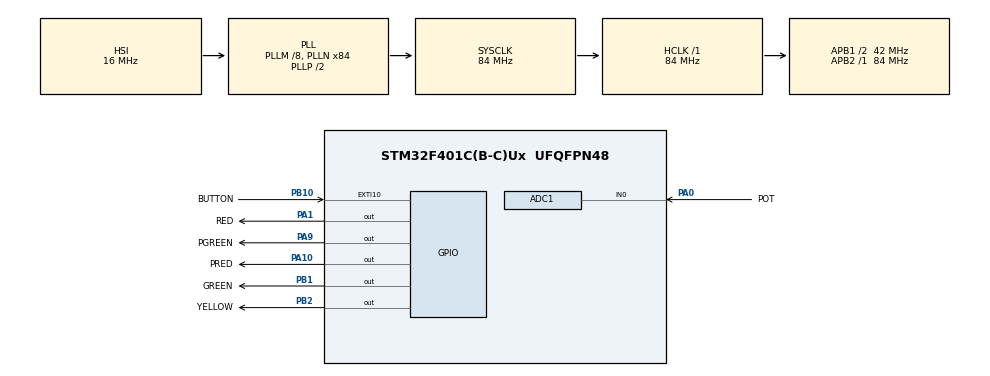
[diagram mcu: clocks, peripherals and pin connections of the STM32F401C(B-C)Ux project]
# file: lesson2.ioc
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ADC1.Channel-0\#ChannelRegularConversion=ADC_CHANNEL_0
ADC1.ContinuousConvMode=ENABLE
ADC1.NbrOfConversionFlag=1
ADC1.Rank-0\#ChannelRegularConversion=1
ADC1.SamplingTime-0\#ChannelRegularConversion=ADC_SAMPLETIME_3CYCLES
ADC1.master=1
Mcu.Family=STM32F4
Mcu.Name=STM32F401C(B-C)Ux
Mcu.Package=UFQFPN48
NVIC.EXTI15_10_IRQn=true\:0\:0\:false\:false\:true\:true\:true\:true
NVIC.PriorityGroup=NVIC_PRIORITYGROUP_4
PA0-WKUP.GPIO_Label=POT
PA0-WKUP.Signal=ADCx_IN0
PA1.GPIO_Label=RED
PA1.Signal=GPIO_Output
PA10.GPIO_Label=PRED
PA10.Signal=GPIO_Output
PA13.Mode=Serial_Wire
PA13.Signal=SYS_JTMS-SWDIO
PA14.Mode=Serial_Wire
PA14.Signal=SYS_JTCK-SWCLK
PA9.GPIO_Label=PGREEN
PA9.Signal=GPIO_Output
PB1.GPIO_Label=GREEN
PB1.Signal=GPIO_Output
PB10.GPIO_Label=BUTTON
PB10.Signal=GPXTI10
PB2.GPIO_Label=YELLOW
PB2.Signal=GPIO_Output
PH0\ -\ OSC_IN.Mode=HSE-External-Oscillator
PH0\ -\ OSC_IN.Signal=RCC_OSC_IN
PH1\ -\ OSC_OUT.Mode=HSE-External-Oscillator
PH1\ -\ OSC_OUT.Signal=RCC_OSC_OUT
ProjectManager.HeapSize=0x200
ProjectManager.StackSize=0x400
ProjectManager.TargetToolchain=STM32CubeIDE
RCC.48MHZClocksFreq_Value=42000000
RCC.AHBFreq_Value=84000000
RCC.APB1CLKDivider=RCC_HCLK_DIV2
RCC.APB1Freq_Value=42000000
RCC.APB1TimFreq_Value=84000000
RCC.APB2Freq_Value=84000000
RCC.APB2TimFreq_Value=84000000
RCC.CortexFreq_Value=84000000
RCC.HCLKFreq_Value=84000000
RCC.HSE_VALUE=25000000
RCC.HSI_VALUE=16000000
RCC.LSE_VALUE=32768
RCC.PLLM=8
RCC.PLLN=84
RCC.SYSCLKFreq_VALUE=84000000
RCC.SYSCLKSource=RCC_SYSCLKSOURCE_PLLCLK
RCC.VCOOutputFreq_Value=168000000
SH.ADCx_IN0.0=ADC1_IN0,IN0
board=custom

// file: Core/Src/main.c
/* USER CODE BEGIN Header */
/**
  ******************************************************************************
  * @file           : main.c
  * @brief          : Main program body
  ******************************************************************************
  * @attention
  *
  * Copyright (c) 2022 STMicroelectronics.
  * All rights reserved.
  *
  * This software is licensed under terms that can be found in the LICENSE file
  * in the root directory of this software component.
  * If no LICENSE file comes with this software, it is provided AS-IS.
  *
  ******************************************************************************
  */
/* USER CODE END Header */
#include "main.h"

ADC_HandleTypeDef hadc1;

void SystemClock_Config(void);
static void MX_GPIO_Init(void);
static void MX_ADC1_Init(void);
/* USER CODE BEGIN PFP */
STATES_t state = ROAD;
/* USER CODE END PFP */

int main(void)
{

  /* MCU Configuration--------------------------------------------------------*/

  /* Reset of all peripherals, Initializes the Flash interface and the Systick. */
  HAL_Init();

  /* Configure the system clock */
  SystemClock_Config();

  /* Initialize all configured peripherals */
  MX_GPIO_Init();
  MX_ADC1_Init();

  /* Infinite loop */
  /* USER CODE BEGIN WHILE */
  while (1)
  {

//	  HAL_ADC_Start(&hadc1);
//	  HAL_ADC_PollForConversion(&hadc1, HAL_MAX_DELAY);
//
//	  if(HAL_ADC_GetValue(&hadc1) > 2100) {
//		  HAL_GPIO_WritePin(LED_GPIO_Port, LED_Pin, GPIO_PIN_RESET);
//	  }
//	  else if(HAL_ADC_GetValue(&hadc1) < 2000){
//		  HAL_GPIO_WritePin(LED_GPIO_Port, LED_Pin, GPIO_PIN_SET);
//	  }
//	  HAL_ADC_Stop(&hadc1);

	  switch(state) {
	  case ROAD:
		  	  HAL_GPIO_WritePin(GREEN_GPIO_Port, GREEN_Pin, GPIO_PIN_SET); //Road light - green
		  	  HAL_GPIO_WritePin(PRED_GPIO_Port, PRED_Pin, GPIO_PIN_SET);//Pedestrian light - red
		  	  break;
	  case PEDESTRIAN:
		  	  for (uint8_t i = 0; i < 5; i++) {
		  		  HAL_GPIO_TogglePin(GREEN_GPIO_Port, GREEN_Pin);//Road green light starts to blink
		  		  HAL_Delay(700);
		  	  }
			  HAL_GPIO_WritePin(GREEN_GPIO_Port, GREEN_Pin, GPIO_PIN_RESET);//Road green - off
			  HAL_GPIO_WritePin(YELLOW_GPIO_Port, YELLOW_Pin, GPIO_PIN_SET);//Road light - yellow
			  HAL_Delay(2000);
			  HAL_GPIO_WritePin(RED_GPIO_Port, RED_Pin, GPIO_PIN_SET);//Road light - red
			  HAL_GPIO_WritePin(YELLOW_GPIO_Port, YELLOW_Pin, GPIO_PIN_RESET);//Road yellow - off
			  HAL_GPIO_WritePin(PRED_GPIO_Port, PRED_Pin, GPIO_PIN_RESET);//Pedestrian red - off
			  HAL_GPIO_WritePin(PGREEN_GPIO_Port, PGREEN_Pin, GPIO_PIN_SET);//Pedestrian light - green
			  HAL_Delay(2000);
			  for (uint8_t i = 0; i < 5; i++) {
				  HAL_GPIO_TogglePin(PGREEN_GPIO_Port, PGREEN_Pin);//Pedestrian green light starts to blink
				  HAL_Delay(700);
			  }
			  //HAL_GPIO_WritePin(PGREEN_GPIO_Port, PGREEN_Pin, GPIO_PIN_RESET);//Pedestrian green - off
			  HAL_GPIO_WritePin(YELLOW_GPIO_Port, YELLOW_Pin, GPIO_PIN_SET);//Road light - yellow
			  HAL_GPIO_WritePin(RED_GPIO_Port, RED_Pin, GPIO_PIN_RESET);//Road red - off
			  HAL_GPIO_WritePin(PRED_GPIO_Port, PRED_Pin, GPIO_PIN_SET);//Pedestrian light - red
			  HAL_Delay(2000);
			  HAL_GPIO_WritePin(YELLOW_GPIO_Port, YELLOW_Pin, GPIO_PIN_RESET);//Road yellow - off
			  state = ROAD;
		  break;
	  }

    /* USER CODE END WHILE */

  }
}

void SystemClock_Config(void)
{
  RCC_OscInitTypeDef RCC_OscInitStruct = {0};
  RCC_ClkInitTypeDef RCC_ClkInitStruct = {0};

  /** Configure the main internal regulator output voltage
  */
  __HAL_RCC_PWR_CLK_ENABLE();
  __HAL_PWR_VOLTAGESCALING_CONFIG(PWR_REGULATOR_VOLTAGE_SCALE2);

  /** Initializes the RCC Oscillators according to the specified parameters
  * in the RCC_OscInitTypeDef structure.
  */
  RCC_OscInitStruct.OscillatorType = RCC_OSCILLATORTYPE_HSI;
  RCC_OscInitStruct.HSIState = RCC_HSI_ON;
  RCC_OscInitStruct.HSICalibrationValue = RCC_HSICALIBRATION_DEFAULT;
  RCC_OscInitStruct.PLL.PLLState = RCC_PLL_ON;
  RCC_OscInitStruct.PLL.PLLSource = RCC_PLLSOURCE_HSI;
  RCC_OscInitStruct.PLL.PLLM = 8;
  RCC_OscInitStruct.PLL.PLLN = 84;
  RCC_OscInitStruct.PLL.PLLP = RCC_PLLP_DIV2;
  RCC_OscInitStruct.PLL.PLLQ = 4;
  if (HAL_RCC_OscConfig(&RCC_OscInitStruct) != HAL_OK)
  {
    Error_Handler();
  }

  /** Initializes the CPU, AHB and APB buses clocks
  */
  RCC_ClkInitStruct.ClockType = RCC_CLOCKTYPE_HCLK|RCC_CLOCKTYPE_SYSCLK
                              |RCC_CLOCKTYPE_PCLK1|RCC_CLOCKTYPE_PCLK2;
  RCC_ClkInitStruct.SYSCLKSource = RCC_SYSCLKSOURCE_PLLCLK;
  RCC_ClkInitStruct.AHBCLKDivider = RCC_SYSCLK_DIV1;
  RCC_ClkInitStruct.APB1CLKDivider = RCC_HCLK_DIV2;
  RCC_ClkInitStruct.APB2CLKDivider = RCC_HCLK_DIV1;

  if (HAL_RCC_ClockConfig(&RCC_ClkInitStruct, FLASH_LATENCY_2) != HAL_OK)
  {
    Error_Handler();
  }
}

static void MX_ADC1_Init(void)
{

  ADC_ChannelConfTypeDef sConfig = {0};

  /** Configure the global features of the ADC (Clock, Resolution, Data Alignment and number of conversion)
  */
  hadc1.Instance = ADC1;
  hadc1.Init.ClockPrescaler = ADC_CLOCK_SYNC_PCLK_DIV4;
  hadc1.Init.Resolution = ADC_RESOLUTION_12B;
  hadc1.Init.ScanConvMode = DISABLE;
  hadc1.Init.ContinuousConvMode = ENABLE;
  hadc1.Init.DiscontinuousConvMode = DISABLE;
  hadc1.Init.ExternalTrigConvEdge = ADC_EXTERNALTRIGCONVEDGE_NONE;
  hadc1.Init.ExternalTrigConv = ADC_SOFTWARE_START;
  hadc1.Init.DataAlign = ADC_DATAALIGN_RIGHT;
  hadc1.Init.NbrOfConversion = 1;
  hadc1.Init.DMAContinuousRequests = DISABLE;
  hadc1.Init.EOCSelection = ADC_EOC_SINGLE_CONV;
  if (HAL_ADC_Init(&hadc1) != HAL_OK)
  {
    Error_Handler();
  }

  /** Configure for the selected ADC regular channel its corresponding rank in the sequencer and its sample time.
  */
  sConfig.Channel = ADC_CHANNEL_0;
  sConfig.Rank = 1;
  sConfig.SamplingTime = ADC_SAMPLETIME_3CYCLES;
  if (HAL_ADC_ConfigChannel(&hadc1, &sConfig) != HAL_OK)
  {
    Error_Handler();
  }

}

static void MX_GPIO_Init(void)
{
  GPIO_InitTypeDef GPIO_InitStruct = {0};

  /* GPIO Ports Clock Enable */
  __HAL_RCC_GPIOH_CLK_ENABLE();
  __HAL_RCC_GPIOA_CLK_ENABLE();
  __HAL_RCC_GPIOB_CLK_ENABLE();

  /*Configure GPIO pin Output Level */
  HAL_GPIO_WritePin(GPIOA, RED_Pin|PGREEN_Pin|PRED_Pin, GPIO_PIN_RESET);

  /*Configure GPIO pin Output Level */
  HAL_GPIO_WritePin(GPIOB, GREEN_Pin|YELLOW_Pin, GPIO_PIN_RESET);

  /*Configure GPIO pins : RED_Pin PGREEN_Pin PRED_Pin */
  GPIO_InitStruct.Pin = RED_Pin|PGREEN_Pin|PRED_Pin;
  GPIO_InitStruct.Mode = GPIO_MODE_OUTPUT_PP;
  GPIO_InitStruct.Pull = GPIO_NOPULL;
  GPIO_InitStruct.Speed = GPIO_SPEED_FREQ_LOW;
  HAL_GPIO_Init(GPIOA, &GPIO_InitStruct);

  /*Configure GPIO pins : GREEN_Pin YELLOW_Pin */
  GPIO_InitStruct.Pin = GREEN_Pin|YELLOW_Pin;
  GPIO_InitStruct.Mode = GPIO_MODE_OUTPUT_PP;
  GPIO_InitStruct.Pull = GPIO_NOPULL;
  GPIO_InitStruct.Speed = GPIO_SPEED_FREQ_LOW;
  HAL_GPIO_Init(GPIOB, &GPIO_InitStruct);

  /*Configure GPIO pin : BUTTON_Pin */
  GPIO_InitStruct.Pin = BUTTON_Pin;
  GPIO_InitStruct.Mode = GPIO_MODE_IT_RISING;
  GPIO_InitStruct.Pull = GPIO_NOPULL;
  HAL_GPIO_Init(BUTTON_GPIO_Port, &GPIO_InitStruct);

  /* EXTI interrupt init*/
  HAL_NVIC_SetPriority(EXTI15_10_IRQn, 0, 0);
  HAL_NVIC_EnableIRQ(EXTI15_10_IRQn);

}

/* USER CODE BEGIN 4 */
void HAL_GPIO_EXTI_Callback(uint16_t GPIO_Pin) {
	if(state != PEDESTRIAN) {
		state = PEDESTRIAN;
	}
	else {
		state = ROAD;
	}

}
/* USER CODE END 4 */

void Error_Handler(void)
{
  __disable_irq();
  while (1)
  {
  }
}
